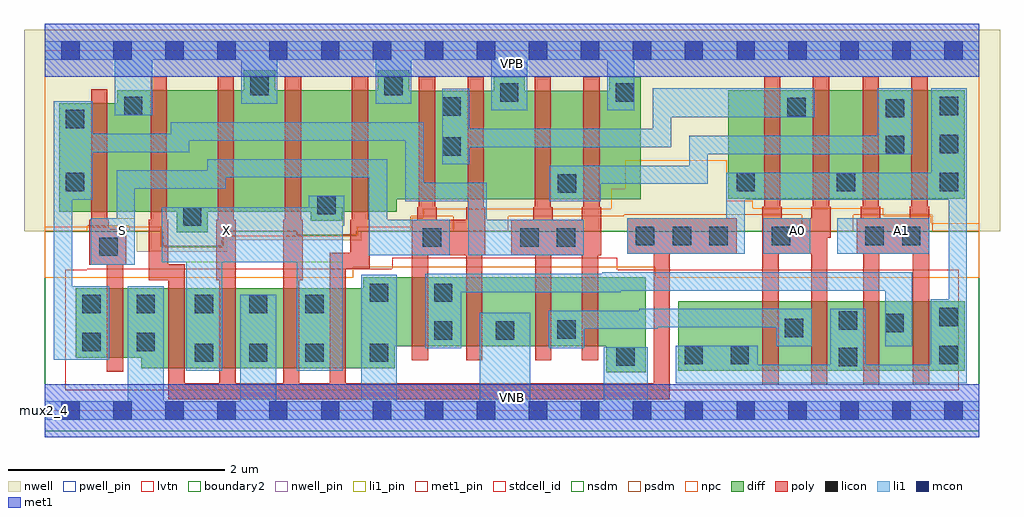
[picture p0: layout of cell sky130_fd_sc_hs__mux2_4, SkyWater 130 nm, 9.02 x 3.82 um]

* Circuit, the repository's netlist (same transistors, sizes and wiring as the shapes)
* Copyright 2020 The SkyWater PDK Authors
*
* Licensed under the Apache License, Version 2.0 (the "License");
* you may not use this file except in compliance with the License.
* You may obtain a copy of the License at
*
*     https://www.apache.org/licenses/LICENSE-2.0
*
* Unless required by applicable law or agreed to in writing, software
* distributed under the License is distributed on an "AS IS" BASIS,
* WITHOUT WARRANTIES OR CONDITIONS OF ANY KIND, either express or implied.
* See the License for the specific language governing permissions and
* limitations under the License.
*
* SPDX-License-Identifier: Apache-2.0


.subckt sky130_fd_sc_hs__mux2_4 A0 A1 S VGND VNB VPB VPWR X
X0 a_27_368# S VPWR VPB sky130_fd_pr__pfet_01v8 w=1 l=150000u
X1 a_722_391# A0 a_193_241# VPB sky130_fd_pr__pfet_01v8 w=1 l=150000u
X2 a_722_391# S VPWR VPB sky130_fd_pr__pfet_01v8 w=1 l=150000u
X3 VGND a_27_368# a_937_119# VNB sky130_fd_pr__nfet_01v8_lvt w=640000u l=150000u
X4 a_193_241# A1 a_936_391# VPB sky130_fd_pr__pfet_01v8 w=1 l=150000u
X5 a_709_119# S VGND VNB sky130_fd_pr__nfet_01v8_lvt w=640000u l=150000u
X6 a_709_119# A1 a_193_241# VNB sky130_fd_pr__nfet_01v8_lvt w=640000u l=150000u
X7 X a_193_241# VGND VNB sky130_fd_pr__nfet_01v8_lvt w=740000u l=150000u
X8 X a_193_241# VPWR VPB sky130_fd_pr__pfet_01v8 w=1.12 l=150000u
X9 VPWR a_27_368# a_936_391# VPB sky130_fd_pr__pfet_01v8 w=1 l=150000u
X10 X a_193_241# VGND VNB sky130_fd_pr__nfet_01v8_lvt w=740000u l=150000u
X11 a_193_241# A0 a_722_391# VPB sky130_fd_pr__pfet_01v8 w=1 l=150000u
X12 a_937_119# A0 a_193_241# VNB sky130_fd_pr__nfet_01v8_lvt w=640000u l=150000u
X13 a_936_391# a_27_368# VPWR VPB sky130_fd_pr__pfet_01v8 w=1 l=150000u
X14 VGND a_193_241# X VNB sky130_fd_pr__nfet_01v8_lvt w=740000u l=150000u
X15 VPWR a_193_241# X VPB sky130_fd_pr__pfet_01v8 w=1.12 l=150000u
X16 VPWR S a_722_391# VPB sky130_fd_pr__pfet_01v8 w=1 l=150000u
X17 a_936_391# A1 a_193_241# VPB sky130_fd_pr__pfet_01v8 w=1 l=150000u
X18 a_193_241# A0 a_937_119# VNB sky130_fd_pr__nfet_01v8_lvt w=640000u l=150000u
X19 a_193_241# A1 a_709_119# VNB sky130_fd_pr__nfet_01v8_lvt w=640000u l=150000u
X20 X a_193_241# VPWR VPB sky130_fd_pr__pfet_01v8 w=1.12 l=150000u
X21 VGND a_193_241# X VNB sky130_fd_pr__nfet_01v8_lvt w=740000u l=150000u
X22 a_27_368# S VGND VNB sky130_fd_pr__nfet_01v8_lvt w=640000u l=150000u
X23 a_937_119# a_27_368# VGND VNB sky130_fd_pr__nfet_01v8_lvt w=640000u l=150000u
X24 VPWR a_193_241# X VPB sky130_fd_pr__pfet_01v8 w=1.12 l=150000u
X25 VGND S a_709_119# VNB sky130_fd_pr__nfet_01v8_lvt w=640000u l=150000u
.ends

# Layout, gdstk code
import gdstk
lib = gdstk.Library(unit=1e-6, precision=1e-09)
def R(c, l, rs):  # rectangles x0, y0, x1, y1
    for r in rs: c.add(gdstk.rectangle(r[:2], r[2:], *l))
def A(c, l, x, y, w, h, nx, ny, dx, dy):  # array of equal rectangles
    R(c, l, [(x+i*dx, y+j*dy, x+i*dx+w, y+j*dy+h) for i in range(nx) for j in range(ny)])
def P(c, l, *ps):  # polygons
    for p in ps: c.add(gdstk.Polygon(p, *l))
nwell_pin = (64, 16)
nwell = (64, 20)
diff = (65, 20)
poly = (66, 20)
licon = (66, 44)
li1_pin = (67, 16)
li1 = (67, 20)
mcon = (67, 44)
met1_pin = (68, 16)
met1 = (68, 20)
stdcell_id = (81, 4)
nsdm = (93, 44)
psdm = (94, 20)
npc = (95, 20)
pwell_pin = (122, 16)
lvtn = (125, 44)
boundary2 = (236, 0)

sky130_fd_sc_hs__mux2_4 = lib.new_cell('sky130_fd_sc_hs__mux2_4')
R(sky130_fd_sc_hs__mux2_4, nwell_pin, [(0,3.085,8.64,3.33)])
P(sky130_fd_sc_hs__mux2_4, nwell, [(0.85,1.47),(0.85,1.66),(-0.19,1.66),(-0.19,3.52),(8.83,3.52),(8.83,1.66),(2.93,1.66),(2.93,1.575),(1.69,1.575),(1.69,1.47)])
R(sky130_fd_sc_hs__mux2_4, diff, [(5.855,0.37,8.505,1.01), (6.32,1.96,8.505,2.96)])
P(sky130_fd_sc_hs__mux2_4, diff, [(1.22,1.65),(1.22,1.84),(0.135,1.84),(0.135,2.84),(0.67,2.84),(0.67,2.96),(1.84,2.96),(1.84,3.145),(2.13,3.145),(2.13,2.96),(3.08,2.96),(3.08,3.145),(3.37,3.145),(3.37,2.955),(4.15,2.955),(4.15,3.085),(4.44,3.085),(4.44,2.955),(5.22,2.955),(5.22,3.085),(5.51,3.085),(5.51,1.955),(3.255,1.955),(3.255,1.84),(2.75,1.84),(2.75,1.755),(2.46,1.755),(2.46,1.84),(1.51,1.84),(1.51,1.65)],
  [(5.19,0.355),(5.19,0.595),(3.235,0.595),(3.235,0.39),(0.895,0.39),(0.895,0.49),(0.29,0.49),(0.29,1.13),(2.945,1.13),(2.945,1.235),(5.555,1.235),(5.555,0.355)])
P(sky130_fd_sc_hs__mux2_4, poly, [(0.575,0.36),(0.575,1.35),(0.415,1.35),(0.415,1.765),(0.43,1.765),(0.43,2.97),(0.58,2.97),(0.58,1.765),(0.595,1.765),(0.595,1.68),(0.755,1.68),(0.755,1.35),(0.725,1.35),(0.725,0.36)],
  [(3.395,0.465),(3.395,1.765),(3.445,1.765),(3.445,1.88),(3.46,1.88),(3.46,3.085),(3.61,3.085),(3.61,1.88),(3.625,1.88),(3.625,1.765),(3.895,1.765),(3.895,1.88),(3.91,1.88),(3.91,3.085),(4.06,3.085),(4.06,1.88),(4.075,1.88),(4.075,1.435),(4.045,1.435),(4.045,0.465),(3.895,0.465),(3.895,1.435),(3.545,1.435),(3.545,0.465)],
  [(7.565,0.24),(7.565,1.45),(7.505,1.45),(7.505,1.78),(7.545,1.78),(7.545,1.885),(7.56,1.885),(7.56,3.09),(7.71,3.09),(7.71,1.885),(7.725,1.885),(7.725,1.78),(7.995,1.78),(7.995,1.885),(8.01,1.885),(8.01,3.09),(8.16,3.09),(8.16,1.885),(8.175,1.885),(8.175,0.24),(8.025,0.24),(8.025,1.45),(7.715,1.45),(7.715,0.24)],
  [(6.635,0.24),(6.635,1.885),(6.65,1.885),(6.65,3.09),(6.8,3.09),(6.8,1.885),(6.815,1.885),(6.815,1.78),(7.085,1.78),(7.085,1.885),(7.1,1.885),(7.1,3.09),(7.25,3.09),(7.25,1.885),(7.265,1.885),(7.265,1.6),(7.235,1.6),(7.235,0.24),(7.085,0.24),(7.085,1.45),(6.785,1.45),(6.785,0.24)],
  [(1.145,0.105),(1.145,1.205),(0.965,1.205),(0.965,1.765),(0.98,1.765),(0.98,3.09),(1.13,3.09),(1.13,1.765),(1.145,1.765),(1.145,1.355),(1.295,1.355),(1.295,0.255),(1.615,0.255),(1.615,1.205),(1.585,1.205),(1.585,1.765),(1.6,1.765),(1.6,3.09),(1.75,3.09),(1.75,1.765),(1.765,1.765),(1.765,0.255),(2.205,0.255),(2.205,1.765),(2.22,1.765),(2.22,3.09),(2.37,3.09),(2.37,1.765),(2.385,1.765),(2.385,1.205),(2.355,1.205),(2.355,0.255),(2.635,0.255),(2.635,1.46),(2.825,1.46),(2.825,1.765),(2.84,1.765),(2.84,3.09),(2.99,3.09),(2.99,1.765),(3.005,1.765),(3.005,1.31),(2.785,1.31),(2.785,0.255),(5.63,0.255),(5.63,1.45),(5.385,1.45),(5.385,1.78),(6.395,1.78),(6.395,1.45),(5.78,1.45),(5.78,0.105)],
  [(4.535,0.465),(4.535,1.435),(4.315,1.435),(4.315,1.765),(4.515,1.765),(4.515,1.88),(4.53,1.88),(4.53,3.085),(4.68,3.085),(4.68,1.88),(4.695,1.88),(4.695,1.765),(4.965,1.765),(4.965,1.88),(4.98,1.88),(4.98,3.085),(5.13,3.085),(5.13,1.88),(5.145,1.88),(5.145,1.435),(5.115,1.435),(5.115,0.465),(4.965,0.465),(4.965,1.435),(4.685,1.435),(4.685,0.465)])
A(sky130_fd_sc_hs__mux2_4, licon, 5.465, 1.53, 0.17, 0.17, 3, 1, 0.34, 0)
A(sky130_fd_sc_hs__mux2_4, licon, 8.275, 2.03, 0.17, 0.17, 1, 3, 0, 0.35)
R(sky130_fd_sc_hs__mux2_4, licon, [(7.34,0.41,7.51,0.58), (5.285,0.415,5.455,0.585), (5.915,0.43,6.085,0.6), (6.34,0.43,6.51,0.6), (8.27,0.43,8.44,0.6), (1.39,0.45,1.56,0.62), (1.89,0.45,2.06,0.62), (2.41,0.45,2.58,0.62), (3.005,0.45,3.175,0.62), (0.35,0.55,0.52,0.72), (0.85,0.55,1.02,0.72), (3.6,0.655,3.77,0.825), (4.17,0.655,4.34,0.825), (4.74,0.665,4.91,0.835), (6.84,0.68,7.01,0.85), (7.77,0.725,7.94,0.895), (7.34,0.75,7.51,0.92), (8.27,0.78,8.44,0.95), (0.35,0.9,0.52,1.07), (0.85,0.9,1.02,1.07), (1.39,0.9,1.56,1.07), (1.89,0.9,2.06,1.07), (2.41,0.9,2.58,1.07), (3.005,1.005,3.175,1.175), (3.6,1.005,3.77,1.175), (0.505,1.43,0.675,1.6), (3.495,1.515,3.665,1.685), (4.395,1.515,4.565,1.685), (4.735,1.515,4.905,1.685), (6.72,1.53,6.89,1.7), (7.585,1.53,7.755,1.7), (7.925,1.53,8.095,1.7), (1.28,1.71,1.45,1.88), (2.52,1.815,2.69,1.985), (4.745,2.015,4.915,2.185), (0.195,2.03,0.365,2.2), (6.395,2.03,6.565,2.2), (7.32,2.03,7.49,2.2), (3.675,2.355,3.845,2.525), (7.775,2.37,7.945,2.54), (0.195,2.61,0.365,2.78), (7.775,2.71,7.945,2.88), (6.865,2.72,7.035,2.89), (3.675,2.725,3.845,2.895), (0.735,2.73,0.905,2.9), (4.21,2.855,4.38,3.025), (5.28,2.855,5.45,3.025), (1.9,2.915,2.07,3.085), (3.14,2.915,3.31,3.085)])
R(sky130_fd_sc_hs__mux2_4, li1_pin, [(0.425,1.35,0.835,1.78), (1.085,1.37,2.755,1.88), (6.64,1.45,7.075,1.78), (7.325,1.45,8.175,1.78)])
R(sky130_fd_sc_hs__mux2_4, li1, [(6.64,1.45,7.075,1.78), (7.325,1.45,8.175,1.78)])
P(sky130_fd_sc_hs__mux2_4, li1, [(1.31,0.37),(1.31,1.37),(1.085,1.37),(1.085,1.88),(2.44,1.88),(2.44,1.985),(2.77,1.985),(2.77,1.71),(2.755,1.71),(2.755,0.37),(2.33,0.37),(2.33,1.37),(1.64,1.37),(1.64,0.37)],
  [(0.425,1.35),(0.425,1.78),(0.665,1.78),(0.665,2.22),(1.505,2.22),(1.505,2.325),(3.165,2.325),(3.165,1.765),(3.745,1.765),(3.745,1.435),(2.995,1.435),(2.995,2.155),(1.675,2.155),(1.675,2.05),(0.835,2.05),(0.835,1.35)],
  [(0.085,0.47),(0.085,2.86),(0.445,2.86),(0.445,2.56),(1.165,2.56),(1.165,2.665),(3.505,2.665),(3.505,2.105),(4.085,2.105),(4.085,1.765),(4.985,1.765),(4.985,1.435),(3.915,1.435),(3.915,1.935),(3.335,1.935),(3.335,2.495),(1.335,2.495),(1.335,2.39),(0.445,2.39),(0.445,1.95),(0.255,1.95),(0.255,1.15),(0.6,1.15),(0.6,0.47)],
  [(4.66,0.575),(4.66,0.925),(5.495,0.925),(5.495,0.94),(7.09,0.94),(7.09,0.595),(6.76,0.595),(6.76,0.77),(5.665,0.77),(5.665,0.755),(4.99,0.755),(4.99,0.575)],
  [(3.675,2.275),(3.675,2.975),(3.925,2.975),(3.925,2.605),(5.62,2.605),(5.62,2.98),(7.115,2.98),(7.115,2.71),(5.79,2.71),(5.79,2.435),(3.925,2.435),(3.925,2.275)],
  [(0,-0.085),(0,0.085),(0.77,0.085),(0.77,1.15),(1.1,1.15),(1.1,0.085),(1.81,0.085),(1.81,1.07),(2.14,1.07),(2.14,0.085),(2.925,0.085),(2.925,1.255),(3.255,1.255),(3.255,0.085),(4.02,0.085),(4.02,0.905),(4.49,0.905),(4.49,0.085),(5.17,0.085),(5.17,0.585),(5.575,0.585),(5.575,0.085),(8.64,0.085),(8.64,-0.085)],
  [(3.52,0.575),(3.52,1.265),(5.155,1.265),(5.155,1.28),(8.02,1.28),(8.02,0.595),(7.77,0.595),(7.77,1.11),(5.325,1.11),(5.325,1.095),(3.85,1.095),(3.85,0.575)],
  [(4.665,1.935),(4.665,2.265),(5.96,2.265),(5.96,2.54),(7.695,2.54),(7.695,2.98),(8.025,2.98),(8.025,2.37),(6.13,2.37),(6.13,2.095),(5.14,2.095),(5.14,1.935)],
  [(5.835,0.255),(5.835,0.6),(6.59,0.6),(6.59,0.425),(7.26,0.425),(7.26,0.94),(7.59,0.94),(7.59,0.425),(8.19,0.425),(8.19,1.03),(8.355,1.03),(8.355,1.95),(6.47,1.95),(6.47,1.45),(5.385,1.45),(5.385,1.78),(6.3,1.78),(6.3,2.2),(8.195,2.2),(8.195,2.98),(8.525,2.98),(8.525,0.255)],
  [(0.65,2.73),(0.65,3.245),(0,3.245),(0,3.415),(8.64,3.415),(8.64,3.245),(5.45,3.245),(5.45,2.775),(5.2,2.775),(5.2,3.245),(4.46,3.245),(4.46,2.775),(4.13,2.775),(4.13,3.245),(3.39,3.245),(3.39,2.835),(3.06,2.835),(3.06,3.245),(2.15,3.245),(2.15,2.835),(1.82,2.835),(1.82,3.245),(0.995,3.245),(0.995,2.73)])
A(sky130_fd_sc_hs__mux2_4, mcon, 0.155, -0.085, 0.17, 0.17, 18, 2, 0.48, 3.33)
R(sky130_fd_sc_hs__mux2_4, met1_pin, [(0,-0.245,8.64,0.245), (0,3.085,8.64,3.575)])
R(sky130_fd_sc_hs__mux2_4, met1, [(0,-0.245,8.64,0.245), (0,3.085,8.64,3.575)])
R(sky130_fd_sc_hs__mux2_4, stdcell_id, [(0,0,8.64,3.33)])
P(sky130_fd_sc_hs__mux2_4, nsdm, [(0,-0.19),(0,1.66),(1.09,1.66),(1.09,1.52),(1.64,1.52),(1.64,1.66),(2.33,1.66),(2.33,1.625),(2.88,1.625),(2.88,1.66),(8.64,1.66),(8.64,-0.19)])
P(sky130_fd_sc_hs__mux2_4, psdm, [(1.09,1.52),(1.09,1.66),(0.785,1.66),(0.785,1.71),(0.395,1.71),(0.395,1.66),(0,1.66),(0,3.52),(8.64,3.52),(8.64,1.66),(8.205,1.66),(8.205,1.81),(7.475,1.81),(7.475,1.66),(7,1.66),(7,1.81),(5.355,1.81),(5.355,1.795),(4.285,1.795),(4.285,1.66),(3.775,1.66),(3.775,1.795),(3.385,1.795),(3.385,1.66),(2.88,1.66),(2.88,1.625),(2.33,1.625),(2.33,1.66),(1.64,1.66),(1.64,1.52)])
P(sky130_fd_sc_hs__mux2_4, npc, [(0,1.23),(0,1.7),(1.08,1.7),(1.08,1.51),(1.65,1.51),(1.65,1.615),(2.89,1.615),(2.89,1.7),(3.395,1.7),(3.395,1.785),(3.5,1.785),(3.5,1.865),(5.235,1.865),(5.235,2.05),(5.365,2.05),(5.365,2.315),(6.305,2.315),(6.305,1.94),(6.545,1.94),(6.545,1.87),(7.75,1.87),(7.75,1.8),(8.195,1.8),(8.195,1.73),(8.64,1.73),(8.64,1.23),(5.645,1.23),(5.645,1.325),(2.855,1.325),(2.855,1.23)])
R(sky130_fd_sc_hs__mux2_4, pwell_pin, [(0,0,8.64,0.245)])
P(sky130_fd_sc_hs__mux2_4, lvtn, [(0.19,0.19),(0.19,1.3),(0.395,1.3),(0.395,1.31),(3.215,1.31),(3.215,1.415),(5.295,1.415),(5.295,1.3),(8.45,1.3),(8.45,0.19)])
R(sky130_fd_sc_hs__mux2_4, boundary2, [(0,0,8.64,3.33)])
sky130_fd_sc_hs__mux2_4.add(gdstk.Label('mux2_4', (0,0), layer=83, texttype=44))
sky130_fd_sc_hs__mux2_4.add(gdstk.Label('VNB', (4.32,0.123), layer=64, texttype=59))
sky130_fd_sc_hs__mux2_4.add(gdstk.Label('VPB', (4.32,3.208), layer=64, texttype=5))
sky130_fd_sc_hs__mux2_4.add(gdstk.Label('VPWR', (4.32,3.208), layer=68, texttype=5))
sky130_fd_sc_hs__mux2_4.add(gdstk.Label('VGND', (4.32,0.123), layer=68, texttype=5))
sky130_fd_sc_hs__mux2_4.add(gdstk.Label('A0', (6.96,1.665), layer=67, texttype=5))
sky130_fd_sc_hs__mux2_4.add(gdstk.Label('A1', (7.92,1.665), layer=67, texttype=5))
sky130_fd_sc_hs__mux2_4.add(gdstk.Label('X', (1.68,1.665), layer=67, texttype=5))
sky130_fd_sc_hs__mux2_4.add(gdstk.Label('S', (0.72,1.665), layer=67, texttype=5))

lib.write_gds('sky130_fd_sc_hs__mux2_4.gds')
